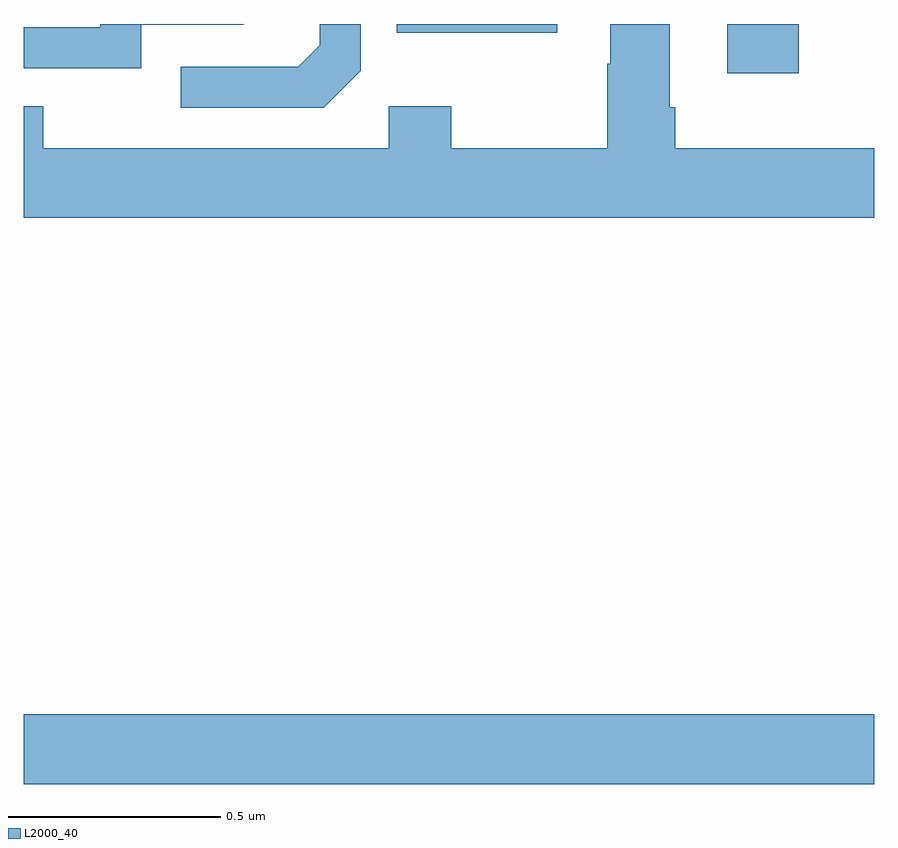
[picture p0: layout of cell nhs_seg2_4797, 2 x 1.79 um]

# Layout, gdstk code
import gdstk
lib = gdstk.Library(unit=1e-6, precision=1e-09)
def R(c, l, rs):  # rectangles x0, y0, x1, y1
    for r in rs: c.add(gdstk.rectangle(r[:2], r[2:], *l))
def P(c, l, *ps):  # polygons
    for p in ps: c.add(gdstk.Polygon(p, *l))
L2000_40 = (2000, 40)

nhs_seg2_4797 = lib.new_cell('nhs_seg2_4797')
R(nhs_seg2_4797, L2000_40, [(171,605.012,173,605.176), (172.655,606.684,172.823,606.8), (171.877,606.779,172.255,606.8)])
P(nhs_seg2_4797, L2000_40, [(173,606.508),(172.532,606.508),(172.532,606.604),(172.519,606.604),(172.519,606.8),(172.379,606.8),(172.379,606.707),(172.372,606.707),(172.372,606.508),(172.005,606.508),(172.005,606.607),(171.858,606.607),(171.858,606.508),(171.045,606.508),(171.045,606.607),(171,606.607),(171,606.344),(173,606.344)],
  [(171.276,606.798),(171.516,606.798),(171.518,606.8),(171.18,606.8),(171.18,606.792),(171,606.792),(171,606.696),(171.276,606.696)],
  [(171.792,606.69),(171.792,606.8),(171.696,606.8),(171.696,606.75),(171.645,606.699),(171.369,606.699),(171.369,606.603),(171.705,606.603)])

lib.write_gds('nhs_seg2_4797.gds')
